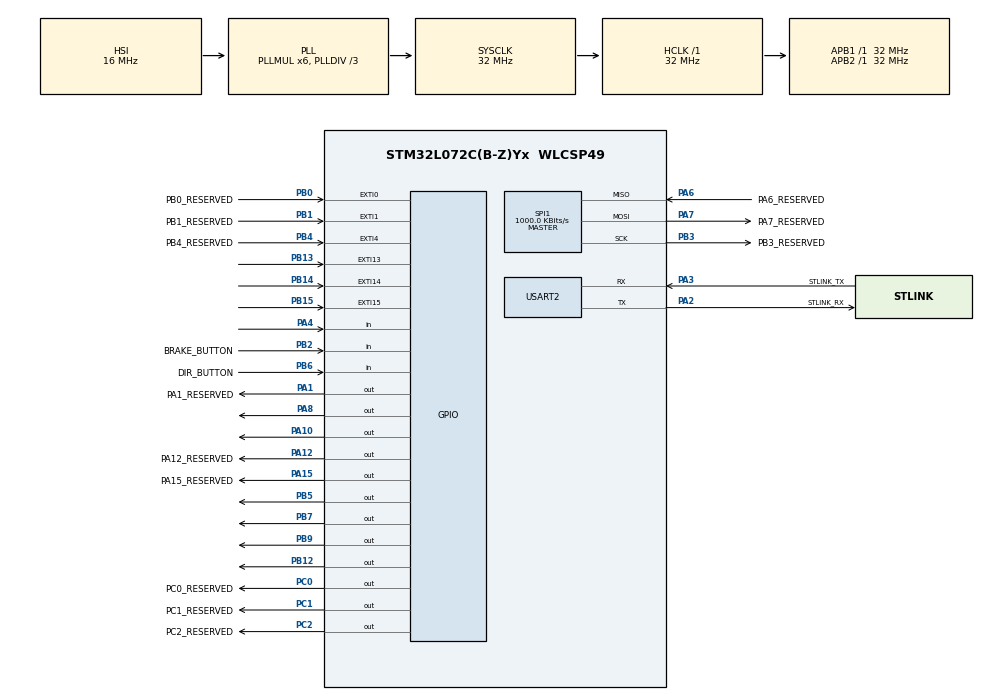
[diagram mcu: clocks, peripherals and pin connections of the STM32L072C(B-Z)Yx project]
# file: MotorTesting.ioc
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Mcu.Family=STM32L0
Mcu.Name=STM32L072C(B-Z)Yx
Mcu.Package=WLCSP49
NVIC.EXTI0_1_IRQn=true\:0\:0\:false\:false\:true\:true\:true\:true
NVIC.EXTI4_15_IRQn=true\:0\:0\:false\:false\:true\:true\:true\:true
NVIC.RTC_IRQn=true\:0\:0\:false\:false\:true\:true\:true\:true
NVIC.USART2_IRQn=true\:0\:0\:false\:false\:true\:true\:true\:true
PA1.GPIO_Label=PA1_RESERVED
PA1.GPIO_Speed=GPIO_SPEED_FREQ_HIGH
PA1.PinState=GPIO_PIN_RESET
PA1.Signal=GPIO_Output
PA10.Signal=GPIO_Output
PA12.GPIO_Label=PA12_RESERVED
PA12.GPIO_Speed=GPIO_SPEED_FREQ_HIGH
PA12.Signal=GPIO_Output
PA15.GPIO_Label=PA15_RESERVED
PA15.GPIO_Speed=GPIO_SPEED_FREQ_HIGH
PA15.Signal=GPIO_Output
PA2.GPIO_Label=STLINK_RX
PA2.Mode=Asynchronous
PA2.Signal=USART2_TX
PA3.GPIO_Label=STLINK_TX
PA3.Mode=Asynchronous
PA3.Signal=USART2_RX
PA4.GPIO_PuPd=GPIO_NOPULL
PA4.Signal=GPIO_Input
PA6.GPIO_Label=PA6_RESERVED
PA6.Mode=Full_Duplex_Master
PA6.Signal=SPI1_MISO
PA7.GPIO_Label=PA7_RESERVED
PA7.Mode=Full_Duplex_Master
PA7.Signal=SPI1_MOSI
PA8.Signal=GPIO_Output
PB0.GPIO_Label=PB0_RESERVED
PB0.Signal=GPXTI0
PB1.GPIO_Label=PB1_RESERVED
PB1.Signal=GPXTI1
PB12.Signal=GPIO_Output
PB13.GPIO_ModeDefaultEXTI=GPIO_MODE_IT_RISING_FALLING
PB13.GPIO_PuPd=GPIO_PULLUP
PB13.Signal=GPXTI13
PB14.GPIO_ModeDefaultEXTI=GPIO_MODE_IT_RISING_FALLING
PB14.GPIO_PuPd=GPIO_PULLUP
PB14.Signal=GPXTI14
PB15.GPIO_ModeDefaultEXTI=GPIO_MODE_IT_RISING_FALLING
PB15.GPIO_PuPd=GPIO_PULLUP
PB15.Signal=GPXTI15
PB2.GPIO_Label=BRAKE_BUTTON
PB2.GPIO_PuPd=GPIO_PULLUP
PB2.Signal=GPIO_Input
PB3.GPIO_Label=PB3_RESERVED
PB3.Mode=Full_Duplex_Master
PB3.Signal=SPI1_SCK
PB4.GPIO_Label=PB4_RESERVED
PB4.Signal=GPXTI4
PB5.Signal=GPIO_Output
PB6.GPIO_Label=DIR_BUTTON
PB6.GPIO_PuPd=GPIO_PULLUP
PB6.Signal=GPIO_Input
PB7.Signal=GPIO_Output
PB9.Signal=GPIO_Output
PC0.GPIO_Label=PC0_RESERVED
PC0.GPIO_Speed=GPIO_SPEED_FREQ_HIGH
PC0.Signal=GPIO_Output
PC1.GPIO_Label=PC1_RESERVED
PC1.GPIO_Speed=GPIO_SPEED_FREQ_HIGH
PC1.Signal=GPIO_Output
PC2.GPIO_Label=PC2_RESERVED
PC2.GPIO_Speed=GPIO_SPEED_FREQ_HIGH
PC2.Signal=GPIO_Output
PH0-OSC_IN.Mode=HSE-External-Oscillator
PH0-OSC_IN.Signal=RCC_OSC_IN
PH1-OSC_OUT.Mode=HSE-External-Oscillator
PH1-OSC_OUT.Signal=RCC_OSC_OUT
ProjectManager.HeapSize=0x200
ProjectManager.StackSize=0x400
ProjectManager.TargetToolchain=STM32CubeIDE
RCC.AHBFreq_Value=32000000
RCC.APB1Freq_Value=32000000
RCC.APB1TimFreq_Value=32000000
RCC.APB2Freq_Value=32000000
RCC.APB2TimFreq_Value=32000000
RCC.HCLKFreq_Value=32000000
RCC.HSE_VALUE=8000000
RCC.HSI16_VALUE=16000000
RCC.HSI48_VALUE=48000000
RCC.HSI_VALUE=16000000
RCC.LSE_VALUE=32768
RCC.MSI_VALUE=2097000
RCC.PLLDIV=RCC_PLLDIV_3
RCC.PLLMUL=RCC_PLLMUL_6
RCC.SYSCLKFreq_VALUE=32000000
RCC.SYSCLKSource=RCC_SYSCLKSOURCE_PLLCLK
RCC.VCOOutputFreq_Value=96000000
RTC.Alarm-Alarm\ A=RTC_ALARM_A
RTC.AlarmSubSecondMask-Alarm\ A=RTC_ALARMSUBSECONDMASK_NONE
RTC.AsynchPrediv=31
RTC.Format=RTC_FORMAT_BIN
RTC.SynchPrediv=1023
SPI1.BaudRatePrescaler=SPI_BAUDRATEPRESCALER_32
SPI1.CalculateBaudRate=1000.0 KBits/s
SPI1.Direction=SPI_DIRECTION_2LINES
SPI1.Mode=SPI_MODE_MASTER
SPI1.VirtualType=VM_MASTER
USART2.VirtualMode-Asynchronous=VM_ASYNC
VP_RTC_VS_RTC_Activate.Mode=RTC_Enabled
VP_RTC_VS_RTC_Alarm_A_Intern.Mode=Alarm A
VP_RTC_VS_RTC_Calendar.Mode=RTC_Calendar
board=B-L072Z-LRWAN1

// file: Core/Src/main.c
/* USER CODE BEGIN Header */
/**
  ******************************************************************************
  * @file           : main.c
  * @brief          : Main program body
  ******************************************************************************
  * @attention
  *
  * Copyright (c) 2022 STMicroelectronics.
  * All rights reserved.
  *
  * This software is licensed under terms that can be found in the LICENSE file
  * in the root directory of this software component.
  * If no LICENSE file comes with this software, it is provided AS-IS.
  *
  ******************************************************************************
  */
/* USER CODE END Header */
#include "main.h"

 RTC_HandleTypeDef hrtc;

SPI_HandleTypeDef hspi1;

UART_HandleTypeDef huart2;

/* USER CODE BEGIN PV */
int dir= 0, brake = 0;
volatile int H1=0, H2=0, H3=0;
/* USER CODE END PV */

void SystemClock_Config(void);
static void MX_GPIO_Init(void);
static void MX_RTC_Init(void);
static void MX_SPI1_Init(void);
static void MX_USART2_UART_Init(void);

int main(void)
{

  /* MCU Configuration--------------------------------------------------------*/

  /* Reset of all peripherals, Initializes the Flash interface and the Systick. */
  HAL_Init();

  /* Configure the system clock */
  SystemClock_Config();

  /* Initialize all configured peripherals */
  MX_GPIO_Init();
  MX_RTC_Init();
  MX_SPI1_Init();
  MX_USART2_UART_Init();
  /* USER CODE BEGIN 2 */
  int NMOS1=0,NMOS2=0,NMOS3=0,PMOS1=0,PMOS2=0,PMOS3=0;
  /*Take Hall Sensor Readings*/
  if(HAL_GPIO_ReadPin(GPIOB, GPIO_PIN_13)) H1 = 1;
  else H1 = 0;

  if(HAL_GPIO_ReadPin(GPIOB, GPIO_PIN_14)) H2 = 1;
  else H2 = 0;

  if(HAL_GPIO_ReadPin(GPIOB, GPIO_PIN_15)) H3 = 1;
  else H3 = 0;
  /* USER CODE END 2 */

  /* Infinite loop */
  /* USER CODE BEGIN WHILE */
  while (1)
  {
	  /*Get Direction*/
	  	  	if(HAL_GPIO_ReadPin(GPIOB, DIR_BUTTON_Pin)) dir = 1;
	  	  	else dir = 0;

	  	  	/*Get Brake*/
	  	  	if(HAL_GPIO_ReadPin(GPIOB, BRAKE_BUTTON_Pin)) brake = 0;
	  	  	else brake = 1;

	  	  	/* Commutation Table*/
	  	  	NMOS1 = (((!dir&&H1&&(!H2))||(dir&&(!H1)&&H2))||brake);
	  	  	PMOS1 = ((((dir)||(!H2)||H1)&&((!dir)||(!H1)||H2))||brake);
	  	  	NMOS2 = (((!dir&&H2&&(!H3))||(dir&&(!H2)&&H3))||brake);
	  	  	PMOS2 = ((((dir)||(!H3)||H2)&&((!dir)||(!H2)||H3))||brake);
	  	  	NMOS3 = (((!dir&&H3&&(!H1))||(dir&&(!H3)&&H1))||brake);
	  	  	PMOS3 = ((((dir)||(!H1)||H3)&&((!dir)||(!H3)||H1))||brake);

	  	  	/*Send Signal to motor*/
	  	  	if(NMOS1) HAL_GPIO_WritePin(GPIOA, GPIO_PIN_10, GPIO_PIN_SET);
	  	  	else HAL_GPIO_WritePin(GPIOA, GPIO_PIN_10, GPIO_PIN_RESET);

	  	  	if(PMOS1) HAL_GPIO_WritePin(GPIOB, GPIO_PIN_5, GPIO_PIN_SET);
	  	  	else HAL_GPIO_WritePin(GPIOB, GPIO_PIN_5, GPIO_PIN_RESET);

	  	  	if(NMOS2) HAL_GPIO_WritePin(GPIOB, GPIO_PIN_7, GPIO_PIN_SET);
	  	  	else HAL_GPIO_WritePin(GPIOB, GPIO_PIN_7, GPIO_PIN_RESET);

	  	  	if(PMOS2) HAL_GPIO_WritePin(GPIOA, GPIO_PIN_8, GPIO_PIN_SET);
	  	  	else HAL_GPIO_WritePin(GPIOA, GPIO_PIN_8, GPIO_PIN_RESET);

	  	  	if(NMOS3) HAL_GPIO_WritePin(GPIOB, GPIO_PIN_9, GPIO_PIN_SET);
	  	  	else HAL_GPIO_WritePin(GPIOB, GPIO_PIN_9, GPIO_PIN_RESET);

	  	  	if(PMOS3) HAL_GPIO_WritePin(GPIOB, GPIO_PIN_12, GPIO_PIN_SET);
	  	  	else HAL_GPIO_WritePin(GPIOB, GPIO_PIN_12, GPIO_PIN_RESET);
    /* USER CODE END WHILE */

  }
}

void SystemClock_Config(void)
{
  RCC_OscInitTypeDef RCC_OscInitStruct = {0};
  RCC_ClkInitTypeDef RCC_ClkInitStruct = {0};
  RCC_PeriphCLKInitTypeDef PeriphClkInit = {0};

  /** Configure the main internal regulator output voltage
  */
  __HAL_PWR_VOLTAGESCALING_CONFIG(PWR_REGULATOR_VOLTAGE_SCALE1);

  /** Initializes the RCC Oscillators according to the specified parameters
  * in the RCC_OscInitTypeDef structure.
  */
  RCC_OscInitStruct.OscillatorType = RCC_OSCILLATORTYPE_HSI|RCC_OSCILLATORTYPE_LSI;
  RCC_OscInitStruct.HSIState = RCC_HSI_ON;
  RCC_OscInitStruct.HSICalibrationValue = RCC_HSICALIBRATION_DEFAULT;
  RCC_OscInitStruct.LSIState = RCC_LSI_ON;
  RCC_OscInitStruct.PLL.PLLState = RCC_PLL_ON;
  RCC_OscInitStruct.PLL.PLLSource = RCC_PLLSOURCE_HSI;
  RCC_OscInitStruct.PLL.PLLMUL = RCC_PLLMUL_6;
  RCC_OscInitStruct.PLL.PLLDIV = RCC_PLLDIV_3;
  if (HAL_RCC_OscConfig(&RCC_OscInitStruct) != HAL_OK)
  {
    Error_Handler();
  }

  /** Initializes the CPU, AHB and APB buses clocks
  */
  RCC_ClkInitStruct.ClockType = RCC_CLOCKTYPE_HCLK|RCC_CLOCKTYPE_SYSCLK
                              |RCC_CLOCKTYPE_PCLK1|RCC_CLOCKTYPE_PCLK2;
  RCC_ClkInitStruct.SYSCLKSource = RCC_SYSCLKSOURCE_PLLCLK;
  RCC_ClkInitStruct.AHBCLKDivider = RCC_SYSCLK_DIV1;
  RCC_ClkInitStruct.APB1CLKDivider = RCC_HCLK_DIV1;
  RCC_ClkInitStruct.APB2CLKDivider = RCC_HCLK_DIV1;

  if (HAL_RCC_ClockConfig(&RCC_ClkInitStruct, FLASH_LATENCY_1) != HAL_OK)
  {
    Error_Handler();
  }
  PeriphClkInit.PeriphClockSelection = RCC_PERIPHCLK_USART2|RCC_PERIPHCLK_RTC;
  PeriphClkInit.Usart2ClockSelection = RCC_USART2CLKSOURCE_PCLK1;
  PeriphClkInit.RTCClockSelection = RCC_RTCCLKSOURCE_LSI;
  if (HAL_RCCEx_PeriphCLKConfig(&PeriphClkInit) != HAL_OK)
  {
    Error_Handler();
  }
}

static void MX_RTC_Init(void)
{

  RTC_TimeTypeDef sTime = {0};
  RTC_DateTypeDef sDate = {0};
  RTC_AlarmTypeDef sAlarm = {0};

  /** Initialize RTC Only
  */
  hrtc.Instance = RTC;
  hrtc.Init.HourFormat = RTC_HOURFORMAT_24;
  hrtc.Init.AsynchPrediv = 31;
  hrtc.Init.SynchPrediv = 1023;
  hrtc.Init.OutPut = RTC_OUTPUT_DISABLE;
  hrtc.Init.OutPutRemap = RTC_OUTPUT_REMAP_NONE;
  hrtc.Init.OutPutPolarity = RTC_OUTPUT_POLARITY_HIGH;
  hrtc.Init.OutPutType = RTC_OUTPUT_TYPE_OPENDRAIN;
  if (HAL_RTC_Init(&hrtc) != HAL_OK)
  {
    Error_Handler();
  }

  /** Initialize RTC and set the Time and Date
  */
  sTime.Hours = 0;
  sTime.Minutes = 0;
  sTime.Seconds = 0;
  sTime.DayLightSaving = RTC_DAYLIGHTSAVING_NONE;
  sTime.StoreOperation = RTC_STOREOPERATION_RESET;
  if (HAL_RTC_SetTime(&hrtc, &sTime, RTC_FORMAT_BIN) != HAL_OK)
  {
    Error_Handler();
  }
  sDate.WeekDay = RTC_WEEKDAY_MONDAY;
  sDate.Month = RTC_MONTH_JANUARY;
  sDate.Date = 1;
  sDate.Year = 0;

  if (HAL_RTC_SetDate(&hrtc, &sDate, RTC_FORMAT_BIN) != HAL_OK)
  {
    Error_Handler();
  }

  /** Enable the Alarm A
  */
  sAlarm.AlarmTime.Hours = 0;
  sAlarm.AlarmTime.Minutes = 0;
  sAlarm.AlarmTime.Seconds = 0;
  sAlarm.AlarmTime.SubSeconds = 0;
  sAlarm.AlarmTime.DayLightSaving = RTC_DAYLIGHTSAVING_NONE;
  sAlarm.AlarmTime.StoreOperation = RTC_STOREOPERATION_RESET;
  sAlarm.AlarmMask = RTC_ALARMMASK_NONE;
  sAlarm.AlarmSubSecondMask = RTC_ALARMSUBSECONDMASK_NONE;
  sAlarm.AlarmDateWeekDaySel = RTC_ALARMDATEWEEKDAYSEL_DATE;
  sAlarm.AlarmDateWeekDay = 1;
  sAlarm.Alarm = RTC_ALARM_A;
  if (HAL_RTC_SetAlarm_IT(&hrtc, &sAlarm, RTC_FORMAT_BIN) != HAL_OK)
  {
    Error_Handler();
  }

}

static void MX_SPI1_Init(void)
{

  /* SPI1 parameter configuration*/
  hspi1.Instance = SPI1;
  hspi1.Init.Mode = SPI_MODE_MASTER;
  hspi1.Init.Direction = SPI_DIRECTION_2LINES;
  hspi1.Init.DataSize = SPI_DATASIZE_8BIT;
  hspi1.Init.CLKPolarity = SPI_POLARITY_LOW;
  hspi1.Init.CLKPhase = SPI_PHASE_1EDGE;
  hspi1.Init.NSS = SPI_NSS_SOFT;
  hspi1.Init.BaudRatePrescaler = SPI_BAUDRATEPRESCALER_32;
  hspi1.Init.FirstBit = SPI_FIRSTBIT_MSB;
  hspi1.Init.TIMode = SPI_TIMODE_DISABLE;
  hspi1.Init.CRCCalculation = SPI_CRCCALCULATION_DISABLE;
  hspi1.Init.CRCPolynomial = 7;
  if (HAL_SPI_Init(&hspi1) != HAL_OK)
  {
    Error_Handler();
  }

}

static void MX_USART2_UART_Init(void)
{

  huart2.Instance = USART2;
  huart2.Init.BaudRate = 115200;
  huart2.Init.WordLength = UART_WORDLENGTH_8B;
  huart2.Init.StopBits = UART_STOPBITS_1;
  huart2.Init.Parity = UART_PARITY_NONE;
  huart2.Init.Mode = UART_MODE_TX_RX;
  huart2.Init.HwFlowCtl = UART_HWCONTROL_NONE;
  huart2.Init.OverSampling = UART_OVERSAMPLING_16;
  huart2.Init.OneBitSampling = UART_ONE_BIT_SAMPLE_DISABLE;
  huart2.AdvancedInit.AdvFeatureInit = UART_ADVFEATURE_NO_INIT;
  if (HAL_UART_Init(&huart2) != HAL_OK)
  {
    Error_Handler();
  }

}

static void MX_GPIO_Init(void)
{
  GPIO_InitTypeDef GPIO_InitStruct = {0};

  /* GPIO Ports Clock Enable */
  __HAL_RCC_GPIOA_CLK_ENABLE();
  __HAL_RCC_GPIOB_CLK_ENABLE();
  __HAL_RCC_GPIOC_CLK_ENABLE();
  __HAL_RCC_GPIOH_CLK_ENABLE();

  /*Configure GPIO pin Output Level */
  HAL_GPIO_WritePin(GPIOA, PA15_RESERVED_Pin|PA12_RESERVED_Pin|GPIO_PIN_10|GPIO_PIN_8
                          |PA1_RESERVED_Pin, GPIO_PIN_RESET);

  /*Configure GPIO pin Output Level */
  HAL_GPIO_WritePin(GPIOB, GPIO_PIN_5|GPIO_PIN_9|GPIO_PIN_7|GPIO_PIN_12, GPIO_PIN_RESET);

  /*Configure GPIO pin Output Level */
  HAL_GPIO_WritePin(GPIOC, PC1_RESERVED_Pin|PC0_RESERVED_Pin|PC2_RESERVED_Pin, GPIO_PIN_RESET);

  /*Configure GPIO pins : PA15_RESERVED_Pin PA12_RESERVED_Pin PA1_RESERVED_Pin */
  GPIO_InitStruct.Pin = PA15_RESERVED_Pin|PA12_RESERVED_Pin|PA1_RESERVED_Pin;
  GPIO_InitStruct.Mode = GPIO_MODE_OUTPUT_PP;
  GPIO_InitStruct.Pull = GPIO_NOPULL;
  GPIO_InitStruct.Speed = GPIO_SPEED_FREQ_HIGH;
  HAL_GPIO_Init(GPIOA, &GPIO_InitStruct);

  /*Configure GPIO pins : PB5 PB9 PB7 PB12 */
  GPIO_InitStruct.Pin = GPIO_PIN_5|GPIO_PIN_9|GPIO_PIN_7|GPIO_PIN_12;
  GPIO_InitStruct.Mode = GPIO_MODE_OUTPUT_PP;
  GPIO_InitStruct.Pull = GPIO_NOPULL;
  GPIO_InitStruct.Speed = GPIO_SPEED_FREQ_LOW;
  HAL_GPIO_Init(GPIOB, &GPIO_InitStruct);

  /*Configure GPIO pins : PB4_RESERVED_Pin PB1_RESERVED_Pin PB0_RESERVED_Pin */
  GPIO_InitStruct.Pin = PB4_RESERVED_Pin|PB1_RESERVED_Pin|PB0_RESERVED_Pin;
  GPIO_InitStruct.Mode = GPIO_MODE_IT_RISING;
  GPIO_InitStruct.Pull = GPIO_NOPULL;
  HAL_GPIO_Init(GPIOB, &GPIO_InitStruct);

  /*Configure GPIO pins : DIR_BUTTON_Pin BRAKE_BUTTON_Pin */
  GPIO_InitStruct.Pin = DIR_BUTTON_Pin|BRAKE_BUTTON_Pin;
  GPIO_InitStruct.Mode = GPIO_MODE_INPUT;
  GPIO_InitStruct.Pull = GPIO_PULLUP;
  HAL_GPIO_Init(GPIOB, &GPIO_InitStruct);

  /*Configure GPIO pins : PA10 PA8 */
  GPIO_InitStruct.Pin = GPIO_PIN_10|GPIO_PIN_8;
  GPIO_InitStruct.Mode = GPIO_MODE_OUTPUT_PP;
  GPIO_InitStruct.Pull = GPIO_NOPULL;
  GPIO_InitStruct.Speed = GPIO_SPEED_FREQ_LOW;
  HAL_GPIO_Init(GPIOA, &GPIO_InitStruct);

  /*Configure GPIO pins : PC1_RESERVED_Pin PC0_RESERVED_Pin PC2_RESERVED_Pin */
  GPIO_InitStruct.Pin = PC1_RESERVED_Pin|PC0_RESERVED_Pin|PC2_RESERVED_Pin;
  GPIO_InitStruct.Mode = GPIO_MODE_OUTPUT_PP;
  GPIO_InitStruct.Pull = GPIO_NOPULL;
  GPIO_InitStruct.Speed = GPIO_SPEED_FREQ_HIGH;
  HAL_GPIO_Init(GPIOC, &GPIO_InitStruct);

  /*Configure GPIO pins : PB15 PB14 PB13 */
  GPIO_InitStruct.Pin = GPIO_PIN_15|GPIO_PIN_14|GPIO_PIN_13;
  GPIO_InitStruct.Mode = GPIO_MODE_IT_RISING_FALLING;
  GPIO_InitStruct.Pull = GPIO_PULLUP;
  HAL_GPIO_Init(GPIOB, &GPIO_InitStruct);

  /*Configure GPIO pin : PA4 */
  GPIO_InitStruct.Pin = GPIO_PIN_4;
  GPIO_InitStruct.Mode = GPIO_MODE_INPUT;
  GPIO_InitStruct.Pull = GPIO_NOPULL;
  HAL_GPIO_Init(GPIOA, &GPIO_InitStruct);

  /* EXTI interrupt init*/
  HAL_NVIC_SetPriority(EXTI0_1_IRQn, 0, 0);
  HAL_NVIC_EnableIRQ(EXTI0_1_IRQn);

  HAL_NVIC_SetPriority(EXTI4_15_IRQn, 0, 0);
  HAL_NVIC_EnableIRQ(EXTI4_15_IRQn);

}

/* USER CODE BEGIN 4 */

/*Interrupt Callback Function*/
void HAL_GPIO_EXTI_Callback(uint16_t GPIO_Pin){

	if(GPIO_Pin == GPIO_PIN_13){
		if(HAL_GPIO_ReadPin(GPIOB, GPIO_PIN_13)) H1 = 1;
		else H1 = 0;
	}

	if(GPIO_Pin == GPIO_PIN_14){
		if(HAL_GPIO_ReadPin(GPIOB, GPIO_PIN_14)) H2 = 1;
		else H2 = 0;
	}

	if(GPIO_Pin == GPIO_PIN_15){
		if(HAL_GPIO_ReadPin(GPIOB, GPIO_PIN_15)) H3 = 1;
		else H3 = 0;
	}
}

/* USER CODE END 4 */

void Error_Handler(void)
{
  __disable_irq();
  while (1)
  {
  }
}
